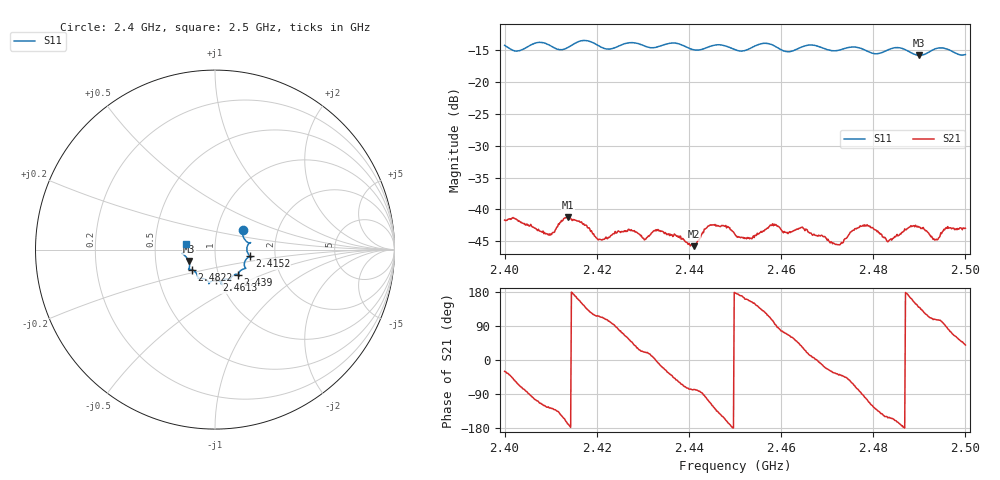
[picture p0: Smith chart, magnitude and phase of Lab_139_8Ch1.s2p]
# Hz S RI R 50
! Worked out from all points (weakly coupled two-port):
!   601 points, 2.4 GHz to 2.5 GHz, reference 50 ohm
!   highest |S21| = -41.21 dB at 2.4137 GHz (marker M1); lowest = -45.7 dB at 2.4412 GHz (marker M2)
!   lowest |S11| = -15.9 dB at 2.49 GHz (marker M3), VSWR 1.38, Z = 36.9 - j4.84 ohm
!   |S11| at or under -10 dB: start of sweep to end of sweep
!   S12 and S22 are empty: the file has one direction only
!   S11 on the Smith chart (normalised r, x): 2.4 GHz: 1.33, +0.31; 2.4152 GHz: 1.48, -0.11; 2.439 GHz: 1.24, -0.36; 2.4613 GHz: 0.96, -0.34; 2.4822 GHz: 0.76, -0.17; 2.5 GHz: 0.72, +0.05
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2.4e9  0.156 0.1113  0.00716 -0.00414  0 0  0 0
2.409667e9  0.1897 0.0344  -0.00384 -0.00519  0 0  0 0
2.413667e9  0.1828 -0.0196  -0.00853 -0.00172  0 0  0 0
2.415167e9  0.1945 -0.0362  -0.00822 0.00132  0 0  0 0
2.416667e9  0.2041 -0.0419  -0.00699 0.0039  0 0  0 0
2.420667e9  0.1824 -0.0454  -0.00239 0.00533  0 0  0 0
2.433333e9  0.1328 -0.1321  0.0069 -0.000966  0 0  0 0
2.439e9  0.1284 -0.139  0.00197 -0.0054  0 0  0 0
2.441167e9  0.1074 -0.1403  0.00108 -0.00505  0 0  0 0
2.444667e9  0.0846 -0.1687  -0.0031 -0.00693  0 0  0 0
2.45e9  0.0687 -0.1636  -0.0064 0.000316  0 0  0 0
2.453667e9  0.0361 -0.1809  -0.00528 0.00264  0 0  0 0
2.4585e9  0.0371 -0.1866  -0.00106 0.0076  0 0  0 0
2.461333e9  0.00735 -0.171  0.00252 0.00612  0 0  0 0
2.466667e9  -0.0335 -0.1901  0.00633 0.00102  0 0  0 0
2.472333e9  -0.0697 -0.1604  0.00421 -0.00325  0 0  0 0
2.478333e9  -0.0977 -0.1454  -0.0013 -0.00732  0 0  0 0
2.482167e9  -0.1279 -0.1119  -0.00502 -0.00345  0 0  0 0
2.483333e9  -0.1392 -0.1103  -0.00498 -0.0027  0 0  0 0
2.49e9  -0.1467 -0.0639  -0.00553 0.00478  0 0  0 0
2.4935e9  -0.1785 -0.0258  -0.00168 0.00555  0 0  0 0
2.5e9  -0.1591 0.0333  0.00551 0.00454  0 0  0 0
